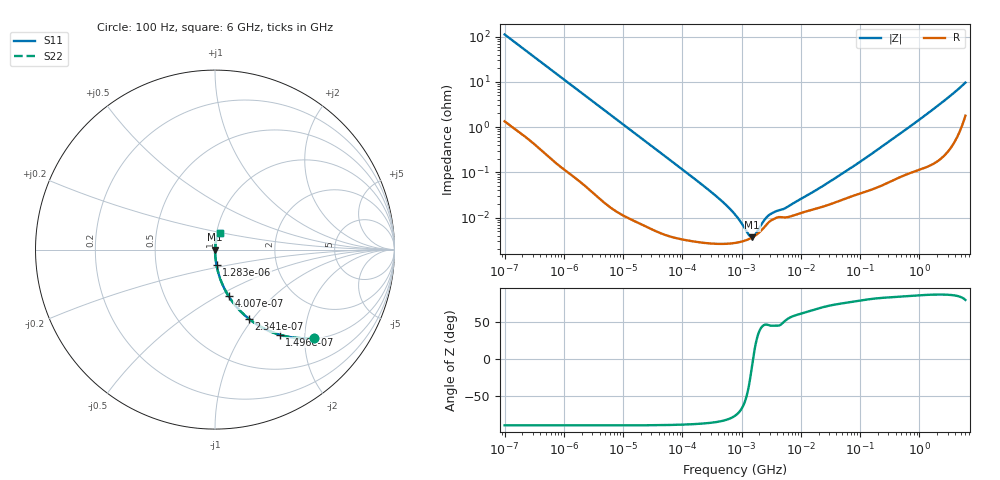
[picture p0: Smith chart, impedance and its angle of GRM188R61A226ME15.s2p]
!Murata Part Number: GRM188R61A226ME15
!These Parameters are Measured in Series Mode Connection
!  o--ll--o
!Port1  Port2
!  o------o
!Operation Temp=25[degC], DC Bias Voltage=0[V]
!Freq. Start=100[Hz] Stop=6[GHz], 401[Steps]
!Data Generated on Nov 6, 2017
# Hz S RI R 50
!Freq.(Hz) S11(Real) S11(Imag) S21(Real) S21(Imag) S12(Real) S12(Imag) S22(Real) S22(Imag)
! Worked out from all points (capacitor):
!   401 points, 100 Hz to 6 GHz, reference 50 ohm
!   read as one part in series: C = 14.3 uF near 109.4 Hz
!   lowest |Z| = 3.66 mohm at 1.516 MHz (marker M1)
!   series resonance near 1.565 MHz, so ESL is about 730 pH
!   S11 on the Smith chart (normalised r, x): 100 Hz: 1.03, -2.23; 149.6 Hz: 1.02, -1.49; 234.1 Hz: 1.01, -0.96; 400.7 Hz: 1.01, -0.56; 1.283 kHz: 1.00, -0.18; 6 GHz: 1.04, +0.19
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100  0.5533 -0.4912  0.4467 0.4912  0.4467 0.4912  0.5533 -0.4912
149.6265  0.3597 -0.4739  0.6403 0.4739  0.6403 0.4739  0.3597 -0.4739
234.1328  0.1896 -0.386  0.8104 0.386  0.8104 0.386  0.1896 -0.386
400.6884  0.0758 -0.2591  0.9242 0.2591  0.9242 0.2591  0.0758 -0.2591
717.1279  0.0258 -0.1534  0.9742 0.1534  0.9742 0.1534  0.0258 -0.1534
1283.472  0.00864 -0.0876  0.9914 0.0876  0.9914 0.0876  0.00864 -0.0876
2008.354  0.00377 -0.0564  0.9962 0.0564  0.9962 0.0564  0.00377 -0.0564
6433.098  0.000475 -0.0178  0.9995 0.0178  0.9995 0.0178  0.000475 -0.0178
40334.87  5.47e-05 -0.00286  0.9999 0.00286  0.9999 0.00286  5.47e-05 -0.00286
330836.5  2.65e-05 -0.000337  1 0.000337  1 0.000337  2.65e-05 -0.000337
541393  2.62e-05 -0.00019  1 0.00019  1 0.00019  2.62e-05 -0.00019
774596.7  2.74e-05 -0.000114  1 0.000114  1 0.000114  2.74e-05 -0.000114
926525  2.86e-05 -8.18e-05  1 8.18e-05  1 8.18e-05  2.86e-05 -8.18e-05
1516199  3.63e-05 -4.62e-06  1 4.62e-06  1 4.62e-06  3.63e-05 -4.62e-06
2594782  6.8e-05 7.09e-05  0.9999 -7.09e-05  0.9999 -7.09e-05  6.8e-05 7.09e-05
3712478  9.62e-05 9.54e-05  0.9999 -9.54e-05  0.9999 -9.54e-05  9.62e-05 9.54e-05
5554849  0.0001 0.000128  0.9999 -0.000128  0.9999 -0.000128  0.0001 0.000128
1.555665e7  0.000149 0.000326  0.9999 -0.000326  0.9999 -0.000326  0.000149 0.000326
7.797396e7  0.000306 0.00133  0.9997 -0.00133  0.9997 -0.00133  0.000306 0.00133
3.124326e8  0.00063 0.00481  0.9994 -0.00481  0.9994 -0.00481  0.00063 0.00481
1.95892e9  0.00249 0.0281  0.9975 -0.0281  0.9975 -0.0281  0.00249 0.0281
6e9  0.0259 0.0905  0.9741 -0.0905  0.9741 -0.0905  0.0259 0.0905
